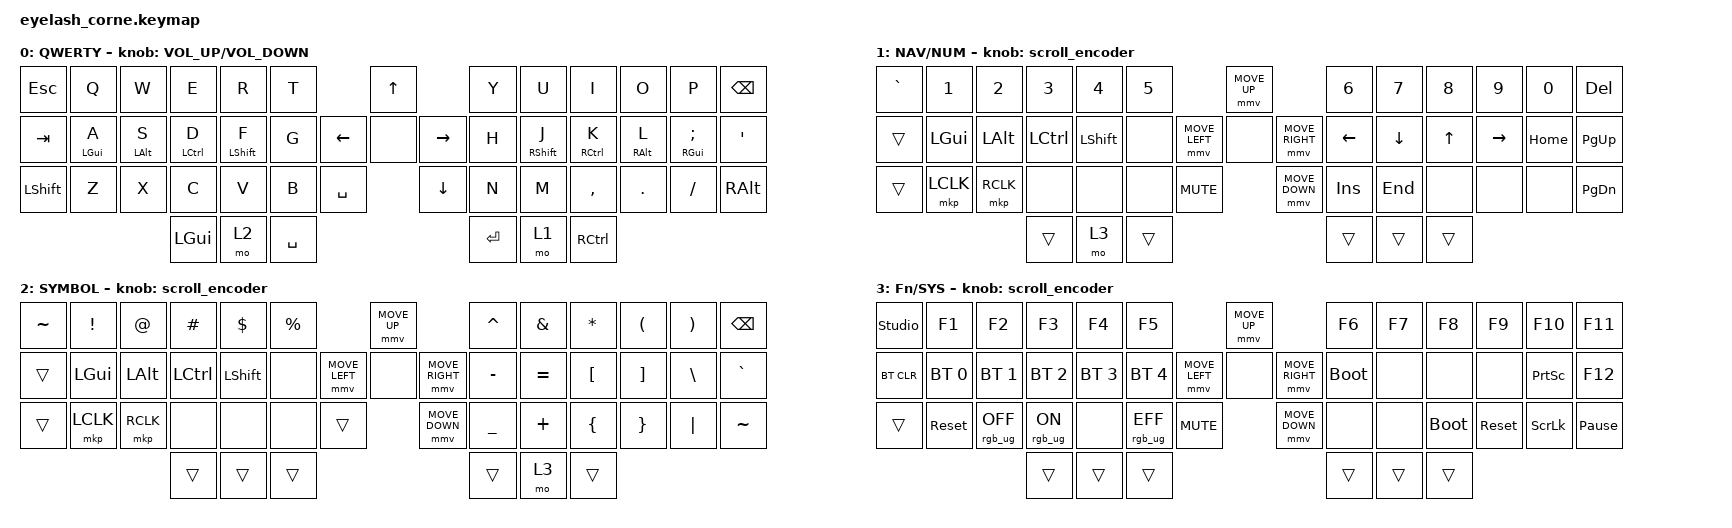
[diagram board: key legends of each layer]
#define ZMK_POINTING_DEFAULT_MOVE_VAL 600  // default: 600, was 1200
#define ZMK_POINTING_DEFAULT_SCRL_VAL 25   // 10

#include <input/processors.dtsi>
#include <zephyr/dt-bindings/input/input-event-codes.h>
#include <behaviors.dtsi>
#include <dt-bindings/zmk/bt.h>
#include <dt-bindings/zmk/keys.h>
#include <dt-bindings/zmk/outputs.h>
#include <dt-bindings/zmk/pointing.h>
#include <dt-bindings/zmk/rgb.h>

&mmv_input_listener { input-processors = <&zip_xy_scaler 2 1>; };

&msc_input_listener { input-processors = <&zip_scroll_scaler 2 1>; };

&msc {
    acceleration-exponent = <1>;      // 0
    time-to-max-speed-ms = <100>;       // 300
    delay-ms = <0>;                   // 0
};

&mmv {
    time-to-max-speed-ms = <500>;
    acceleration-exponent = <1>;
    trigger-period-ms = <16>;
};

&soft_off { hold-time-ms = <2000>; };

/ {
    behaviors {
        // Home-row mod hold-tap: balanced flavor, tuned for fast typing
        hm: homerow_mod {
            compatible = "zmk,behavior-hold-tap";
            #binding-cells = <2>;
            tapping-term-ms = <200>;
            quick-tap-ms = <175>;
            require-prior-idle-ms = <150>;
            flavor = "balanced";
            bindings = <&kp>, <&kp>;
        };

        // Esc on tap, Ctrl on hold (for vim users)
        esc_ctrl: esc_ctrl {
            compatible = "zmk,behavior-hold-tap";
            #binding-cells = <2>;
            tapping-term-ms = <200>;
            flavor = "balanced";
            bindings = <&kp>, <&kp>;
        };
    };

    rgb_encoder: rgb_encoder {
        compatible = "zmk,behavior-sensor-rotate";
        #sensor-binding-cells = <0>;
        bindings = <&rgb_ug RGB_BRI>, <&rgb_ug RGB_BRD>;
    };

    scroll_encoder: scroll_encoder {
        compatible = "zmk,behavior-sensor-rotate";
        #sensor-binding-cells = <0>;
        bindings = <&msc SCRL_DOWN>, <&msc SCRL_UP>;

        tap-ms = <100>;
    };

    combos {
        compatible = "zmk,combos";

        softoff {
            bindings = <&soft_off>;
            key-positions = <1 15 29>;
        };
    };

    keymap {
        compatible = "zmk,keymap";

        default_layer {
            display-name = "QWERTY";
            bindings = <
&kp ESC              &kp Q         &kp W        &kp E         &kp R          &kp T                                  &kp UP                 &kp Y          &kp U          &kp I         &kp O        &kp P            &kp BSPC
&kp TAB              &hm LGUI A    &hm LALT S   &hm LCTRL D   &hm LSHFT F    &kp G                       &kp LEFT  &none      &kp RIGHT   &kp H          &hm RSHFT J    &hm RCTRL K   &hm RALT L   &hm RGUI SEMI    &kp SQT
&kp LSHFT            &kp Z         &kp X        &kp C         &kp V          &kp B          &kp SPACE               &kp DOWN               &kp N          &kp M          &kp COMMA     &kp DOT      &kp FSLH         &kp RALT
                                                 &kp LGUI      &mo 2          &kp SPACE                                                     &kp ENTER      &mo 1          &kp RCTRL
            >;

            sensor-bindings = <&inc_dec_kp C_VOLUME_UP C_VOLUME_DOWN>;
        };

        nav_num_layer {
            display-name = "NAV/NUM";
            bindings = <
&kp GRAVE  &kp N1        &kp N2       &kp N3        &kp N4         &kp N5                                         &mmv MOVE_UP                     &kp N6     &kp N7         &kp N8        &kp N9       &kp N0           &kp DEL
&trans     &kp LGUI      &kp LALT     &kp LCTRL     &kp LSHFT      &none                          &mmv MOVE_LEFT  &none           &mmv MOVE_RIGHT  &kp LEFT   &kp DOWN       &kp UP        &kp RIGHT    &kp HOME         &kp PG_UP
&trans     &mkp LCLK     &mkp RCLK    &none         &none          &none          &kp C_MUTE                       &mmv MOVE_DOWN                   &kp INS    &kp END        &none         &none        &none            &kp PG_DN
                                      &trans        &mo 3          &trans                                                                           &trans     &trans         &trans
            >;

            sensor-bindings = <&scroll_encoder>;
        };

        symbol_layer {
            display-name = "SYMBOL";
            bindings = <
&kp TILDE  &kp EXCL      &kp AT       &kp HASH      &kp DLLR       &kp PRCNT                                      &mmv MOVE_UP                     &kp CARET  &kp AMPS       &kp ASTRK     &kp LPAR     &kp RPAR         &kp BSPC
&trans     &kp LGUI      &kp LALT     &kp LCTRL     &kp LSHFT      &none                          &mmv MOVE_LEFT  &none           &mmv MOVE_RIGHT  &kp MINUS  &kp EQUAL      &kp LBKT      &kp RBKT     &kp BSLH         &kp GRAVE
&trans     &mkp LCLK     &mkp RCLK    &none         &none          &none          &trans                           &mmv MOVE_DOWN                   &kp UNDER  &kp PLUS       &kp LBRC      &kp RBRC     &kp PIPE         &kp TILDE
                                      &trans        &trans        &trans                                                                           &trans     &mo 3         &trans
            >;

            sensor-bindings = <&scroll_encoder>;
        };

        fn_sys_layer {
            display-name = "Fn/SYS";
            bindings = <
&studio_unlock  &kp F1          &kp F2          &kp F3        &kp F4         &kp F5                                      &mmv MOVE_UP                     &kp F6        &kp F7         &kp F8        &kp F9       &kp F10          &kp F11
&bt BT_CLR      &bt BT_SEL 0    &bt BT_SEL 1    &bt BT_SEL 2  &bt BT_SEL 3   &bt BT_SEL 4                &mmv MOVE_LEFT  &none           &mmv MOVE_RIGHT  &bootloader   &none          &none         &none        &kp PRINTSCREEN  &kp F12
&trans          &sys_reset      &rgb_ug RGB_OFF &rgb_ug RGB_ON &none          &rgb_ug RGB_EFF  &kp C_MUTE                 &mmv MOVE_DOWN                   &none         &none          &bootloader   &sys_reset   &kp SCROLLLOCK   &kp PAUSE_BREAK
                                                &trans        &trans         &trans                                                                        &trans        &trans         &trans
            >;

            sensor-bindings = <&scroll_encoder>;
        };
    };
};
